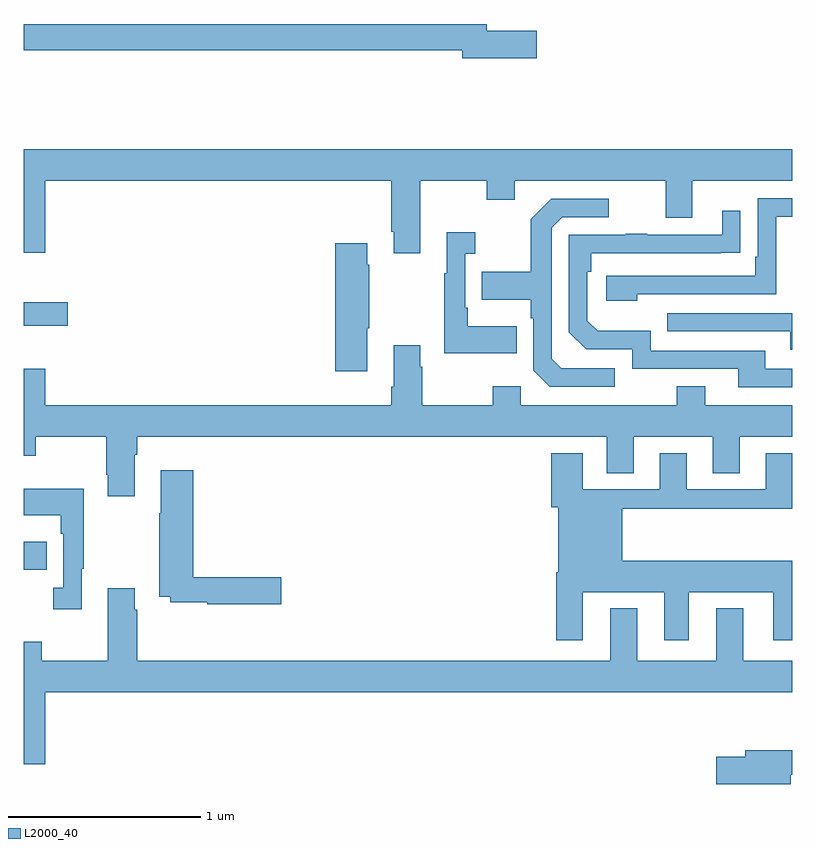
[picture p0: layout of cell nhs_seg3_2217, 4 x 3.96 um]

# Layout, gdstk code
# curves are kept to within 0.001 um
import gdstk
lib = gdstk.Library(unit=1e-6, precision=1e-09)
def R(c, l, rs):  # rectangles x0, y0, x1, y1
    for r in rs: c.add(gdstk.rectangle(r[:2], r[2:], *l))
def P(c, l, *ps):  # polygons
    for p in ps: c.add(gdstk.Polygon(p, *l))
L2000_40 = (2000, 40)

nhs_seg3_2217 = lib.new_cell('nhs_seg3_2217')
R(nhs_seg3_2217, L2000_40, [(225,717.538,225.119,717.685), (225,718.808,225.229,718.93)])
P(nhs_seg3_2217, L2000_40, [(227.671,720.344),(227.41,720.344),(227.41,720.38),(225,720.38),(225,720.244),(227.282,720.244),(227.282,720.202),(227.671,720.202)],
  [(227.065,719.564),(227.41,719.564),(227.41,719.465),(227.557,719.465),(227.557,719.564),(228.341,719.564),(228.341,719.37),(228.481,719.37),(228.481,719.564),(229,719.564),(229,719.728),(225,719.728),(225,719.19),(225.112,719.19),(225.112,719.564),(226.913,719.564),(226.913,719.299),(226.925,719.299),(226.925,719.187),(227.065,719.187)],
  [(228.194,718.974),(228.918,718.974),(228.918,719.376),(229,719.376),(229,719.472),(228.822,719.472),(228.822,719.167),(228.809,719.167),(228.809,719.07),(228.033,719.07),(228.033,718.94),(228.194,718.94)],
  [(228.076,718.587),(227.799,718.587),(227.748,718.638),(227.748,719.319),(227.802,719.373),(228.046,719.373),(228.046,719.469),(227.745,719.469),(227.64,719.363),(227.64,719.091),(227.383,719.091),(227.383,718.943),(227.64,718.943),(227.64,718.847),(227.652,718.847),(227.652,718.578),(227.739,718.491),(228.076,718.491)],
  [(229,718.584),(228.859,718.584),(228.859,718.68),(228.264,718.68),(228.264,718.783),(227.987,718.783),(227.934,718.836),(227.934,719.09),(227.954,719.09),(227.954,719.187),(228.731,719.188),(228.731,719.407),(228.635,719.407),(228.635,719.283),(228.245,719.283),(228.245,719.288),(228.133,719.288),(228.133,719.283),(227.838,719.283),(227.838,718.776),(227.928,718.686),(228.168,718.686),(228.168,718.584),(228.719,718.584),(228.719,718.488),(229,718.488)],
  [(227.567,718.807),(227.311,718.807),(227.311,718.903),(227.298,718.903),(227.298,719.183),(227.35,719.183),(227.35,719.296),(227.201,719.296),(227.201,719.083),(227.19,719.083),(227.19,718.667),(227.567,718.667)],
  [(226.789,718.795),(226.797,718.795),(226.797,719.126),(226.789,719.126),(226.789,719.239),(226.622,719.239),(226.622,718.572),(226.789,718.572)],
  [(229,718.875),(228.349,718.875),(228.349,718.779),(228.989,718.779),(228.989,718.685),(229,718.685)],
  [(225.577,718.136),(225.59,718.136),(225.59,718.232),(228.035,718.232),(228.035,718.042),(228.175,718.042),(228.175,718.232),(228.587,718.232),(228.587,718.042),(228.727,718.042),(228.727,718.232),(229,718.232),(229,718.396),(228.547,718.396),(228.547,718.495),(228.4,718.495),(228.4,718.396),(227.586,718.396),(227.586,718.495),(227.44,718.495),(227.44,718.396),(227.073,718.396),(227.073,718.595),(227.065,718.595),(227.065,718.708),(226.925,718.708),(226.925,718.492),(226.913,718.492),(226.913,718.396),(225.112,718.396),(225.112,718.585),(225,718.585),(225,718.133),(225.063,718.133),(225.063,718.232),(225.43,718.232),(225.43,718.033),(225.437,718.033),(225.437,717.921),(225.577,717.921)],
  [(227.911,717.422),(228.335,717.422),(228.335,717.171),(228.463,717.171),(228.463,717.422),(228.902,717.422),(228.902,717.171),(229,717.171),(229,717.586),(228.115,717.586),(228.115,717.856),(229,717.856),(229,718.144),(228.863,718.144),(228.863,717.957),(228.451,717.957),(228.451,718.144),(228.311,718.144),(228.311,717.957),(227.911,717.957),(227.911,718.144),(227.747,718.144),(227.747,717.864),(227.783,717.864),(227.783,717.526),(227.771,717.526),(227.771,717.171),(227.911,717.171)],
  [(226.339,717.5),(225.881,717.5),(225.881,718.057),(225.713,718.057),(225.713,717.833),(225.706,717.833),(225.706,717.398),(225.762,717.398),(225.762,717.37),(225.954,717.37),(225.954,717.358),(226.339,717.358)],
  [(225.301,717.545),(225.313,717.545),(225.313,717.961),(225,717.961),(225,717.821),(225.192,717.821),(225.192,717.725),(225.204,717.725),(225.204,717.446),(225.153,717.446),(225.153,717.333),(225.301,717.333)],
  [(225.112,716.9),(229,716.9),(229,717.064),(228.745,717.064),(228.745,717.337),(228.605,717.337),(228.605,717.064),(228.193,717.064),(228.193,717.337),(228.053,717.337),(228.053,717.064),(225.59,717.064),(225.59,717.329),(225.577,717.329),(225.577,717.442),(225.437,717.442),(225.437,717.064),(225.093,717.064),(225.093,717.163),(225,717.163),(225,716.526),(225.112,716.526)],
  [(228.994,716.47),(229,716.47),(229,716.599),(228.755,716.599),(228.755,716.565),(228.606,716.565),(228.606,716.423),(228.994,716.423)])

lib.write_gds('nhs_seg3_2217.gds')
